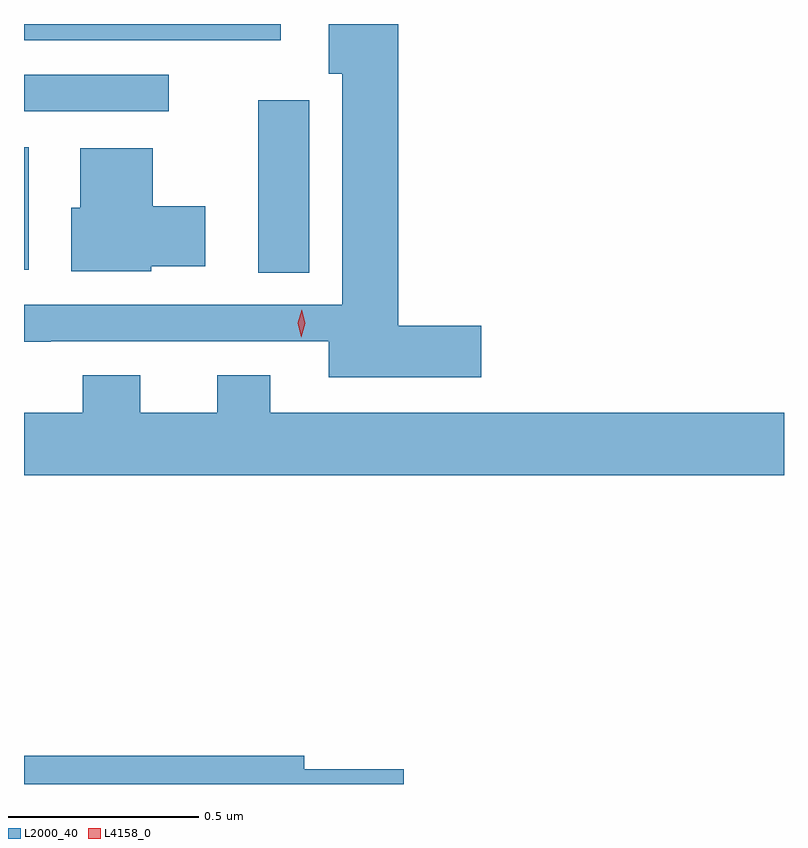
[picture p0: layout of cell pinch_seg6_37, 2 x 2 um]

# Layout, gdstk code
import gdstk
lib = gdstk.Library(unit=1e-6, precision=1e-09)
def R(c, l, rs):  # rectangles x0, y0, x1, y1
    for r in rs: c.add(gdstk.rectangle(r[:2], r[2:], *l))
def P(c, l, *ps):  # polygons
    for p in ps: c.add(gdstk.Polygon(p, *l))
L2000_40 = (2000, 40)
L4158_0 = (4158, 0)

pinch_seg6_37 = lib.new_cell('pinch_seg6_37')
R(pinch_seg6_37, L2000_40, [(952.118,973.177,952.252,973.63), (951.502,973.184,951.514,973.507), (951.502,973.602,951.883,973.698), (951.502,973.788,952.177,973.831)])
P(pinch_seg6_37, L2000_40, [(952.705,973.037),(952.487,973.037),(952.487,973.831),(952.304,973.831),(952.304,973.7),(952.34,973.7),(952.34,973.092),(951.502,973.092),(951.502,972.995),(951.572,972.995),(951.572,972.996),(952.304,972.996),(952.304,972.902),(952.705,972.902)],
  [(951.837,973.193),(951.979,973.193),(951.979,973.351),(951.841,973.351),(951.841,973.504),(951.65,973.504),(951.65,973.347),(951.626,973.347),(951.626,973.181),(951.837,973.181)],
  [(953.502,972.808),(952.15,972.808),(952.15,972.907),(952.01,972.907),(952.01,972.808),(951.808,972.808),(951.808,972.907),(951.656,972.907),(951.656,972.808),(951.502,972.808),(951.502,972.644),(953.502,972.644)],
  [(952.501,971.87),(952.24,971.87),(952.24,971.906),(951.502,971.906),(951.502,971.831),(952.501,971.831)])
P(pinch_seg6_37, L4158_0, [(952.232,973.007),(952.232,973.007),(952.222,973.043),(952.233,973.079),(952.233,973.079),(952.233,973.079),(952.242,973.043),(952.232,973.007)])

lib.write_gds('pinch_seg6_37.gds')
